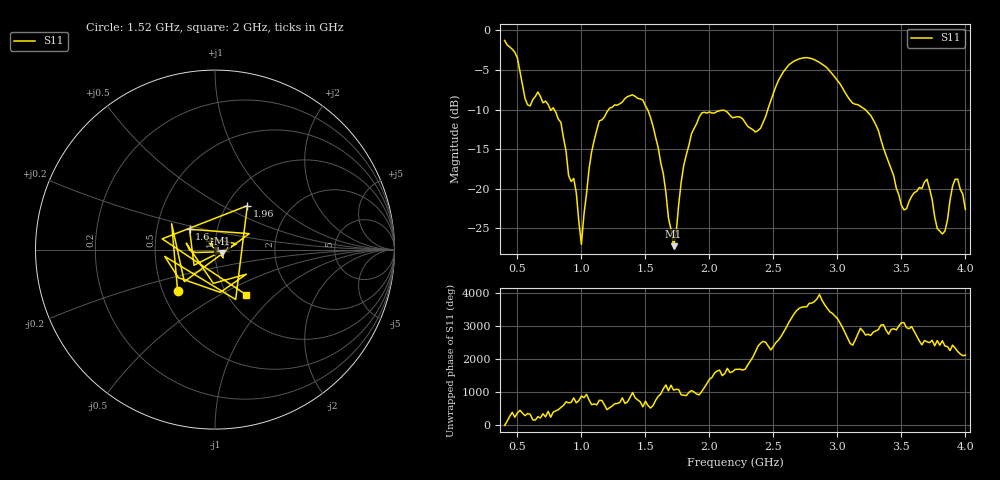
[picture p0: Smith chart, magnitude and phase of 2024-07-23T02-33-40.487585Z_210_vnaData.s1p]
!Created with skrf (http://scikit-rf.org).
# Hz S RI R 50.0
!freq ReS11 ImS11
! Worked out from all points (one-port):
!   181 points, 400 MHz to 4 GHz, reference 50 ohm
!   lowest |S11| = -27.3 dB at 1.72 GHz (marker M1), VSWR 1.09, Z = 54 - j2.04 ohm
!   |S11| at or under -10 dB: 787.6 MHz to 1.213 GHz (425.1 MHz wide, 42.5 % of centre); 1.516 GHz to 2.457 GHz (940.1 MHz wide, 47.3 % of centre); 3.217 GHz to end of sweep (the widest 3 of 4)
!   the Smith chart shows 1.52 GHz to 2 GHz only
!   S11 on the Smith chart (normalised r, x): 1.52 GHz: 0.60, -0.31; 1.6 GHz: 0.73, +0.17; 1.7 GHz: 0.94, +0.09; 1.96 GHz: 1.24, +0.67; 2 GHz: 1.21, -0.67
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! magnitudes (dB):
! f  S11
! 400 MHz  -1.3
! 580 MHz  -9.4
! 660 MHz  -7.8
! 860 MHz  -13.6
! 960 MHz  -20.5
! 1 GHz  -27.0
! 1.06 GHz  -17.5
! 1.12 GHz  -12.6
! 1.3 GHz  -9.3
! 1.52 GHz  -10.1
! 1.6 GHz  -14.8
! 1.7 GHz  -25.2
! 1.72 GHz  -27.3
! 1.76 GHz  -22.0
! 1.86 GHz  -13.1
! 1.96 GHz  -10.3
! 2 GHz  -10.3
! 2.2 GHz  -11.0
! 2.4 GHz  -12.4
! 2.66 GHz  -3.9
! 3.1 GHz  -8.8
! 3.26 GHz  -10.7
! 3.5 GHz  -22.1
! 3.56 GHz  -21.6
! 3.7 GHz  -18.8
! 3.82 GHz  -25.7
! 3.94 GHz  -18.8
! 4 GHz  -22.6
